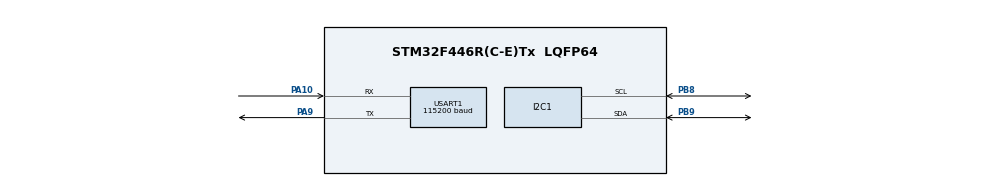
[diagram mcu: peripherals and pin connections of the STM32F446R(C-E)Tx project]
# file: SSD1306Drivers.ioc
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Dma.Request0=USART1_RX
Dma.USART1_RX.0.Direction=DMA_PERIPH_TO_MEMORY
Dma.USART1_RX.0.FIFOMode=DMA_FIFOMODE_DISABLE
Dma.USART1_RX.0.Instance=DMA2_Stream2
Dma.USART1_RX.0.MemDataAlignment=DMA_MDATAALIGN_BYTE
Dma.USART1_RX.0.MemInc=DMA_MINC_ENABLE
Dma.USART1_RX.0.Mode=DMA_CIRCULAR
Dma.USART1_RX.0.PeriphDataAlignment=DMA_PDATAALIGN_BYTE
Dma.USART1_RX.0.PeriphInc=DMA_PINC_DISABLE
Dma.USART1_RX.0.Priority=DMA_PRIORITY_LOW
Mcu.Family=STM32F4
Mcu.Name=STM32F446R(C-E)Tx
Mcu.Package=LQFP64
NVIC.DMA2_Stream2_IRQn=true\:0\:0\:false\:false\:true\:false\:true
NVIC.PriorityGroup=NVIC_PRIORITYGROUP_4
PA10.Mode=Asynchronous
PA10.Signal=USART1_RX
PA9.Mode=Asynchronous
PA9.Signal=USART1_TX
PB8.Mode=I2C
PB8.Signal=I2C1_SCL
PB9.Mode=I2C
PB9.Signal=I2C1_SDA
ProjectManager.HeapSize=0x200
ProjectManager.StackSize=0x400
ProjectManager.TargetToolchain=STM32CubeIDE
RCC.CortexFreq_Value=16000000
RCC.USBFreq_Value=96000000
RCC.VCOOutputFreq_Value=192000000
USART1.BaudRate=115200
USART1.VirtualMode=VM_ASYNC
board=custom

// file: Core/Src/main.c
/* USER CODE BEGIN Header */
/**
  ******************************************************************************
  * @file           : main.c
  * @brief          : Main program body
  ******************************************************************************
  * @attention
  *
  *
  * A simple project for displaying strings/bitmaps received via the Bluetooth
  * (UART) HC08 module onto the SSD1306 (I2C) display
  *
  ******************************************************************************
  */
/* USER CODE END Header */
#include "main.h"

/* USER CODE BEGIN Includes */

#include <stdio.h>
#include <string.h>
#include <stdlib.h>
#include <time.h>
#include <stdbool.h>
#include "font8x8.h"
#include "SSD1306Commands.h"

/* USER CODE END Includes */

/* USER CODE BEGIN PD */

//Init UART buffers/lines
#define buffer_size  				128
#define line_size  					32

/* USER CODE END PD */

I2C_HandleTypeDef hi2c1;

UART_HandleTypeDef huart1;
DMA_HandleTypeDef hdma_usart1_rx;

/* USER CODE BEGIN PV */
static uint8_t SSD1306_Buffer[COLUMNS * ROWS / 8]; //SSD1306 uses 8 bit addressing to change pixels
//- means no updating singular pixels unless you use a buffer

uint8_t currentPage = 0;
uint8_t currentColumn = 0;

uint8_t data;

uint8_t _readOpcode = SSD1306_DEF_SA | 0x01;   // contains the I2C address of the device for reading
uint8_t _writeOpcode = SSD1306_DEF_SA & 0xFE;  // contains the I2C address of the device for writing

bool readFlag = false;
bool bitmapFlag = false;
uint8_t requestPixel = 0x06;
int currentXPos = 0;
int currentYPos = 0;

char rx_buffer[buffer_size];
uint8_t rx_char;
char rx_line[line_size];

//Used for interrupt
volatile int rx_in=0;
volatile int rx_out=0;
/* USER CODE END PV */

void SystemClock_Config(void);
static void MX_GPIO_Init(void);
static void MX_DMA_Init(void);
static void MX_I2C1_Init(void);
static void MX_USART1_UART_Init(void);
/* USER CODE BEGIN PFP */

/**
 * @brief Writes a single command to the command register of SSD1306
 * @param uint8_t command (command to be written)
 * @retval None
 */
void SSD1306_WriteSingleCommand(uint8_t command){
	HAL_StatusTypeDef ret;

	ret = HAL_I2C_Mem_Write(&hi2c1, SSD1306_DEF_SA, 0x00, 1, &command, 1, HAL_MAX_DELAY);

}

/**
 * @brief Writes a multiple commands (or commands with parameters) to the multiple command register of SSD1306
 * @param uint8_t* commands (pointer to commands/parameters to be written)
 * @retval None
 */
void SSD1306_WriteMultiCommands(uint8_t* commands){

	HAL_I2C_Mem_Write(&hi2c1,  SSD1306_DEF_SA, 0x80, 1, commands, sizeof(commands), HAL_MAX_DELAY);

}

/**
 * @brief Writes data to the data address of SSD1306 - must write 8 bits/8 pixels at a time
 * @param uint8_t* data - pointer to data to be written, uint16_t dataSize
 * @retval None
 */
void SSD1306_WriteData(uint8_t* data, uint16_t dataSize){

	HAL_I2C_Mem_Write(&hi2c1, SSD1306_DEF_SA, DATA_MODE, 1, data, dataSize, HAL_MAX_DELAY);
}

/**
 * @brief Writes data to the multiple data address of SSD1306 - must write 8 bits/8 pixels at a time
 * @param uint8_t* data - pointer to data to be written, uint16_t dataSize
 * @retval None
 */
void SSD1306_WriteMultiData(uint8_t* data, uint16_t dataSize){

	HAL_I2C_Mem_Write(&hi2c1, SSD1306_DEF_SA, 0xC0, 1, data, dataSize, HAL_MAX_DELAY);
}

/**
 * @brief Sets memory addressing mode (Horizontal, Vertical, Page) on the SSD1306
 * @param uint8_t mode - mode to be written (See SSD1306Commands.h for values)
 * @retval None
 */
void SSD1306_SetMemoryAddressingMode(uint8_t mode){

	uint8_t commands[2] = {SET_MEMORY_ADDRESSING_MODE, mode};

	SSD1306_WriteSingleCommand(commands[0]);
	SSD1306_WriteSingleCommand(commands[1]);

	//SSD1306_WriteMultiCommands(commands);
}

/**
 * @brief Sets the current page address start and end for data to be written (Min 0, Max 7)
 * @param uint8_t start, end - start and end page addresses
 * @retval None
 */
void SSD1306_SetPageAddress(uint8_t start, uint8_t end){

	uint8_t commands[3] = {SET_PAGE_ADDRESS, start, end};

	SSD1306_WriteSingleCommand(commands[0]);
	SSD1306_WriteSingleCommand(commands[1]);
	SSD1306_WriteSingleCommand(commands[2]);

	//SSD1306_WriteMultiCommands(commands);
}

/**
 * @brief Sets the current column address start and end for data to be written (Min 0, Max 127)
 * @param uint8_t start, end - start and end column addresses
 * @retval None
 */
void SSD1306_SetColumnAddress(uint8_t start, uint8_t end){

	uint8_t commands[3] = {SET_COLUMN_ADDRESS, start, end};

	SSD1306_WriteSingleCommand(commands[0]);
	SSD1306_WriteSingleCommand(commands[1]);
	SSD1306_WriteSingleCommand(commands[2]);

	//SSD1306_WriteMultiCommands(commands);

}

/**
 * @brief Sets the current row address start and end for data to be written (Min 0, Max 127)
 * @param uint8_t row, row address for data to be written to
 * @retval None
 */
void SSD1306_SetRowAddress(uint8_t row){

	uint8_t commands[2] = {SET_DISPLAY_START_LINE, row};

	SSD1306_WriteMultiCommands(commands);
}

/**
 * @brief Sets the contrast on SSD1306
 * @param uint8_t contrastValue - value between 0-255 (0x00 - 0xFF)
 * @retval None
 */
void SSD1306_WriteContrast(uint8_t contrastValue){

	SSD1306_WriteSingleCommand(SET_CONTRAST);
	SSD1306_WriteSingleCommand(contrastValue);
}

/**
 * @brief UNUSED
 * @param
 * @retval None
 */
void SSD1306_UpdateScreenFromBuffer(){
}

/**
 * @brief Clears the SSD1306_Buffer (resets all pixels to 0), best to call SSD1306_UpdateScreen after
 * @param None
 * @retval None
 */
void clearBuffer(){

	for(int i = 0; i < sizeof(SSD1306_Buffer); i++) {
	        SSD1306_Buffer[i] = 0;
	    }
}

/**
 * @brief Fills the SSD1306_Buffer (resets all pixels to 1), best to call SSD1306_UpdateScreen after
 * @param None
 * @retval None
 */
void fillBuffer(){

	for (int i = 0; i < sizeof(SSD1306_Buffer); i++) {
		        SSD1306_Buffer[i] = 1;
		    }
}

/**
 * @brief Clears the screen by first clearing the SSD1306_Buffer and then updating the screen from the buffer
 * @param None
 * @retval None
 */
void SSD1306_ClearScreen(){

	SSD1306_SetMemoryAddressingMode(HORIZONTAL_ADDRESSING_MODE);

	SSD1306_SetPageAddress(0, MAX_PAGE);

	SSD1306_SetColumnAddress(0, MAX_COLUMN);

	clearBuffer();

	for (uint8_t j = 0; j <= MAX_PAGE; j++){

		SSD1306_WriteData(&SSD1306_Buffer[COLUMNS*j],COLUMNS);

	}

	currentColumn = 0;
	currentPage = 0;

}

/**
 * @brief Clears the screen by writing empty data (uint8_t 0x00) to the data register of SSD1306
 * @param None
 * @retval None
 */
void SSD1306_ClearScreenAddressing(){
	SSD1306_SetMemoryAddressingMode(HORIZONTAL_ADDRESSING_MODE);

	SSD1306_SetPageAddress(0, MAX_PAGE);

	SSD1306_SetColumnAddress(0, MAX_COLUMN);

	uint8_t emptyPage [1024] = {0};

	SSD1306_WriteData(emptyPage, 1024);

	currentColumn = 0;
	currentPage = 0;

}

/**
 * @brief Writes a single 8x8 Character to the requested page and column of SSD1306
 * @param uint8_t character, page, column - character to be written, page to be written to (0-7), column to be written to (0-127)
 * @retval 0,1 depending on success
 */
int SSD1306_WriteChar(uint8_t character, uint8_t page, uint8_t column){

	//Check if character is within limit of font chars
	if (character < 32 || character > 126){return 0;}

	SSD1306_SetMemoryAddressingMode(HORIZONTAL_ADDRESSING_MODE);

	SSD1306_SetPageAddress(page, MAX_PAGE);

	SSD1306_SetColumnAddress(column, MAX_COLUMN);

	SSD1306_WriteData(Font8x8[character - 32], 8);

	return(1);

}

/**
 * @brief Writes a string in 8x8 Font to the SSD1306, splits string by spaces and checks string will fit on remaining space
 * @brief Uses variables currentColumn and currentPage to select address
 * @param uint8_t character, page, column - character to be written, page to be written to (0-7), column to be written to (0-127)
 * @retval 0,1 depending on success
 */
int SSD1306_WriteString(char* str){

		if (strlen(str) > 128){return 0;}

		char splitStrings[8][17] = {{'\0'}}; //can store 16 words of 16 characters with terminating /0 (Max that can fit on screen)

		int j,cnt;
	    j=0; cnt=0;
	    //SPLITTING STRING INTO WORDS BY SPACES
	    for(int i=0;i<=(strlen(str));i++)
	    {
	        // if space or NULL found, assign SPACE + NULL into splitStrings[cnt]
	        if(str[i]==' '||str[i]=='\0')
	        {
	        	splitStrings[cnt][j] = ' ';
	            splitStrings[cnt][j+1]='\0';
	            cnt++;  //for next word
	            j=0;    //for next word, init index to 0
	        }
	        //If we cant fit the entire word into buffer, move part of word to next word
	        else if (j < 15)
	        {
	            splitStrings[cnt][j]=str[i];
	            j++;
	        }
	        else{
	        	 splitStrings[cnt][j] = ' ';
	        	 splitStrings[cnt][j+1]='\0';
	        	 cnt++;  //for next word
	        	 j=0;    //for next word, init index to 0
	        }
	    }

	    //DISPLAYING WORDS TO SCREEN
	    for(int i = 0; i < cnt; i++){

			int length = strlen(splitStrings[i]);

			if((length * 8) + currentColumn < MAX_COLUMN){
				for(int k = 0; k < length; k++){
					SSD1306_WriteChar(splitStrings[i][k], currentPage, currentColumn);
					currentColumn+=8;
				}

			}
			else if(currentPage < MAX_PAGE){
				currentPage +=1;
				currentColumn = 0;
				if((length * 8) + currentColumn < MAX_COLUMN){
					for(int k = 0; k < length; k++){
						SSD1306_WriteChar(splitStrings[i][k], currentPage, currentColumn);
						currentColumn+=8;
					}
				}
				else{
					currentPage -=1;
					return 0;
				}
			}
	    }

	    return 1;
}

/**
 * @brief Inserts a singular pixel into the SSD1306_Buffer
 * @param int x, int y - location of pixel
 * @retval None
 */
void SSD1306_InsertPixelInBuffer(int x, int y){

	if(x >= COLUMNS || y >= ROWS) {
	        return;
	    }

	//As SSD1306 takes byte as input to RAM, we need to shift any other pixels around
	//You cannot access the memory in SSD1306 by pixel only so screen buffer is needed
	SSD1306_Buffer[x + (y / 8) * COLUMNS] |= 1 << (y % 8);

}

/**
 * @brief Updates the SSD1306 screen from the SSD1306_Buffer
 * @param None
 * @retval None
 */
void SSD1306_UpdateScreen(){
	for (uint8_t j = 0; j <= MAX_PAGE; j++){
			SSD1306_WriteData(&SSD1306_Buffer[COLUMNS*j],COLUMNS);
		}
}

/**
 * @brief Randomises all pixels in the SSD1306_Buffer
 * @param None
 * @retval None
 */
void SSD1306_RandomiseBuffer(){
	uint8_t randomUint;

	for (int i = 0; i < COLUMNS * ROWS / 8; i++){

		randomUint = rand() % 255;
		SSD1306_Buffer[i] = randomUint;
	}
}

/**
 * @brief Initialisation of SSD1306 - sets charge pump and display on
 * @param None
 * @retval None
 */
void SSD1306_Init_Test(void) {
	HAL_Delay(100);

	uint8_t commands[4] = { SET_CHARGE_PUMP, 0x14, SET_DISPLAY_POWER_OFF, SET_DISPLAY_POWER_ON};

	SSD1306_WriteMultiCommands(commands);

	HAL_Delay(100);

	for (uint8_t i = 0; i < 255; i++){
		SSD1306_WriteContrast(i);
	}

	SSD1306_WriteContrast(0x7F);

	SSD1306_WriteSingleCommand(SET_INVERSE_DISPLAY);

	HAL_Delay(100);

	SSD1306_WriteSingleCommand(SET_NORMAL_DISPLAY);

	HAL_Delay(100);

	SSD1306_WriteSingleCommand(SET_DISPLAY_GDDRAM);

	SSD1306_RandomiseBuffer();

	SSD1306_UpdateScreen();

	SSD1306_ClearScreenAddressing();

	SSD1306_RandomiseBuffer();

	SSD1306_UpdateScreen();

	SSD1306_ClearScreen();

	//SSD1306_WriteString("");

	//SSD1306_PixelTest();

}

/**
 * @brief UART recieve complete callback
 * @param UART_HandleTypeDef *huart
 * @retval None
 */
void HAL_UART_RxCpltCallback(UART_HandleTypeDef *huart){

	__NOP();

	if(bitmapFlag == true){
		SSD1306_Buffer[currentXPos] = rx_char;
		currentXPos +=1;

		if(currentXPos == 1024){
			SSD1306_UpdateScreen();
			bitmapFlag = false;
			//HAL_UART_Receive_DMA ( &huart1, &rx_char, 1 );
		}
		else{
			HAL_UART_Transmit(&huart1, &requestPixel , 1, HAL_MAX_DELAY);
		}

	}
	else{

		bitmapFlag = false;

		if (rx_char == 0x04){
			//rx_buffer[rx_in] = rx_char;
			readFlag = true;
		}

		rx_buffer[rx_in] = rx_char;

		rx_in+=1;
	}

}

/**
 * @brief Clears rx_line of any stored data
 * @param None
 * @retval None
 */
void clear_rx_line(){

    for (int i = 0; i < line_size; i++){

        rx_line[i] = '\0';

        }

}

/**
 * @brief Reads from the rx buffer to rx_line until end of message char (0x04)
 * @param None
 * @retval None
 */
void read_line() {

	if (bitmapFlag == true){
		return;
	}

	int i;
	i = 0;

	//Critical Section
	HAL_NVIC_DisableIRQ(USART1_IRQn);
	while ((i==0) || (rx_line[i-1] != 0x04)) {

		if (rx_in == rx_out) {
			// End Critical Section - need to allow rx interrupt to get new characters for buffer
			        	HAL_NVIC_EnableIRQ(USART1_IRQn);

			            while (rx_in == rx_out) {

			            }
			// Start Critical Section - don't interrupt while changing global buffer variables
			            HAL_NVIC_DisableIRQ(USART1_IRQn);
			        }

		rx_line[i] = rx_buffer[rx_out];
		i++;
		rx_out = (rx_out + 1) % buffer_size;
		__NOP();
	}
	//readFlag = true;
	//End Critical Section
	HAL_NVIC_EnableIRQ(USART1_IRQn);

}

/* USER CODE END PFP */

int main(void)
{

  /* MCU Configuration--------------------------------------------------------*/

  /* Reset of all peripherals, Initializes the Flash interface and the Systick. */
  HAL_Init();

  /* Configure the system clock */
  SystemClock_Config();

  /* Initialize all configured peripherals */
  MX_GPIO_Init();
  MX_DMA_Init();
  MX_I2C1_Init();
  MX_USART1_UART_Init();
  /* USER CODE BEGIN 2 */

  SSD1306_Init_Test();
  //HAL_UART_Receive_IT (&huart1, &rx_char, 1);
  HAL_UART_Receive_DMA ( &huart1, &rx_char, 1 );
  /* USER CODE END 2 */

  /* Infinite loop */
  /* USER CODE BEGIN WHILE */
  while (1)
  {
	  if (readFlag == true){
		  read_line();
		  //NEED TO PUT CHECKS HERE FOR RX_LINE CURRENT SIZE
	  		  switch(rx_line[0]){

	  		  case 0x11:

	  		  case 0x12:
	  			  switch(rx_line[1]){

	  			  //Contrast change
	  			  case 'C':
	  				 __NOP();
	  		      //Bitmap Incoming
	  			  case 'B':
	  				HAL_NVIC_DisableIRQ(USART1_IRQn);
	  				  SSD1306_ClearScreen();
	  				  currentXPos = 0;
	  				  bitmapFlag = true;
	  				  readFlag = false;

	  				  HAL_UART_Transmit(&huart1, &requestPixel , 1, HAL_MAX_DELAY);
	  				HAL_NVIC_EnableIRQ(USART1_IRQn);

	  			  case 'R':

	  			  default:

	  				  __NOP();
	  			  }

	  		  case 0x13:

	  		  case 0x14:

	  		  default:
	  			  __NOP();

	  		  }
	  	  }

    /* USER CODE END WHILE */

  }
}

void SystemClock_Config(void)
{
  RCC_OscInitTypeDef RCC_OscInitStruct = {0};
  RCC_ClkInitTypeDef RCC_ClkInitStruct = {0};

  /** Configure the main internal regulator output voltage
  */
  __HAL_RCC_PWR_CLK_ENABLE();
  __HAL_PWR_VOLTAGESCALING_CONFIG(PWR_REGULATOR_VOLTAGE_SCALE3);
  /** Initializes the RCC Oscillators according to the specified parameters
  * in the RCC_OscInitTypeDef structure.
  */
  RCC_OscInitStruct.OscillatorType = RCC_OSCILLATORTYPE_HSI;
  RCC_OscInitStruct.HSIState = RCC_HSI_ON;
  RCC_OscInitStruct.HSICalibrationValue = RCC_HSICALIBRATION_DEFAULT;
  RCC_OscInitStruct.PLL.PLLState = RCC_PLL_NONE;
  if (HAL_RCC_OscConfig(&RCC_OscInitStruct) != HAL_OK)
  {
    Error_Handler();
  }
  /** Initializes the CPU, AHB and APB buses clocks
  */
  RCC_ClkInitStruct.ClockType = RCC_CLOCKTYPE_HCLK|RCC_CLOCKTYPE_SYSCLK
                              |RCC_CLOCKTYPE_PCLK1|RCC_CLOCKTYPE_PCLK2;
  RCC_ClkInitStruct.SYSCLKSource = RCC_SYSCLKSOURCE_HSI;
  RCC_ClkInitStruct.AHBCLKDivider = RCC_SYSCLK_DIV1;
  RCC_ClkInitStruct.APB1CLKDivider = RCC_HCLK_DIV1;
  RCC_ClkInitStruct.APB2CLKDivider = RCC_HCLK_DIV1;

  if (HAL_RCC_ClockConfig(&RCC_ClkInitStruct, FLASH_LATENCY_0) != HAL_OK)
  {
    Error_Handler();
  }
}

static void MX_I2C1_Init(void)
{

  hi2c1.Instance = I2C1;
  hi2c1.Init.ClockSpeed = 100000;
  hi2c1.Init.DutyCycle = I2C_DUTYCYCLE_2;
  hi2c1.Init.OwnAddress1 = 0;
  hi2c1.Init.AddressingMode = I2C_ADDRESSINGMODE_7BIT;
  hi2c1.Init.DualAddressMode = I2C_DUALADDRESS_DISABLE;
  hi2c1.Init.OwnAddress2 = 0;
  hi2c1.Init.GeneralCallMode = I2C_GENERALCALL_DISABLE;
  hi2c1.Init.NoStretchMode = I2C_NOSTRETCH_DISABLE;
  if (HAL_I2C_Init(&hi2c1) != HAL_OK)
  {
    Error_Handler();
  }

}

static void MX_USART1_UART_Init(void)
{

  huart1.Instance = USART1;
  huart1.Init.BaudRate = 115200;
  huart1.Init.WordLength = UART_WORDLENGTH_8B;
  huart1.Init.StopBits = UART_STOPBITS_1;
  huart1.Init.Parity = UART_PARITY_NONE;
  huart1.Init.Mode = UART_MODE_TX_RX;
  huart1.Init.HwFlowCtl = UART_HWCONTROL_NONE;
  huart1.Init.OverSampling = UART_OVERSAMPLING_16;
  if (HAL_UART_Init(&huart1) != HAL_OK)
  {
    Error_Handler();
  }

}

static void MX_DMA_Init(void)
{

  /* DMA controller clock enable */
  __HAL_RCC_DMA2_CLK_ENABLE();

  /* DMA interrupt init */
  /* DMA2_Stream2_IRQn interrupt configuration */
  HAL_NVIC_SetPriority(DMA2_Stream2_IRQn, 0, 0);
  HAL_NVIC_EnableIRQ(DMA2_Stream2_IRQn);

}

static void MX_GPIO_Init(void)
{

  /* GPIO Ports Clock Enable */
  __HAL_RCC_GPIOA_CLK_ENABLE();
  __HAL_RCC_GPIOB_CLK_ENABLE();

}

void Error_Handler(void)
{
}

/************************ (C) COPYRIGHT STMicroelectronics *****END OF FILE****/
